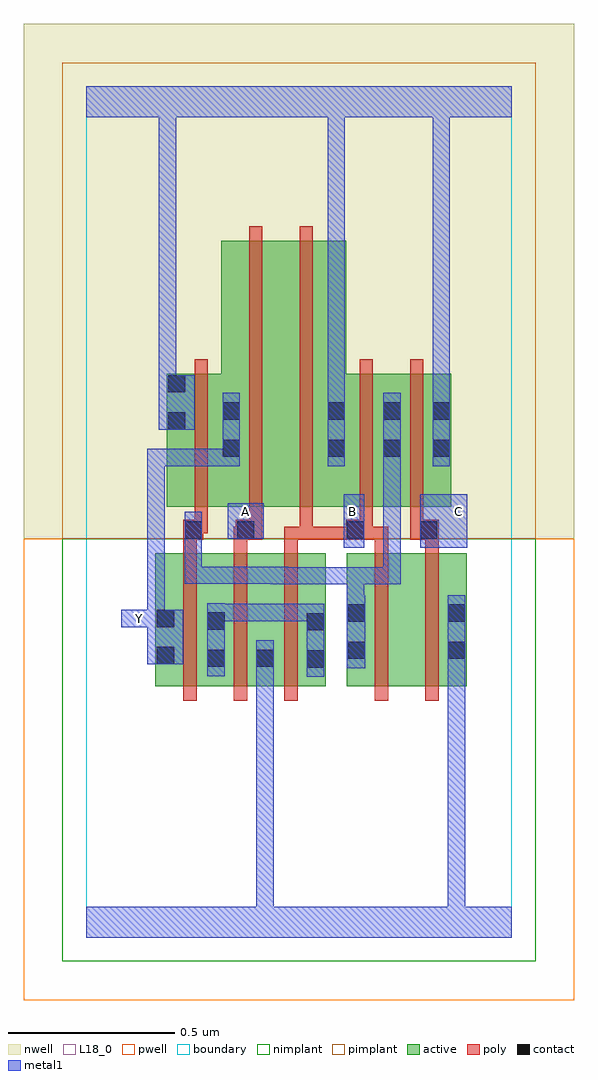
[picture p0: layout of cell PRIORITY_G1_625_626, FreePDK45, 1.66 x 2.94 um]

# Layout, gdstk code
import gdstk
lib = gdstk.Library(unit=1e-6, precision=1e-09)
def R(c, l, rs):  # rectangles x0, y0, x1, y1
    for r in rs: c.add(gdstk.rectangle(r[:2], r[2:], *l))
def A(c, l, x, y, w, h, nx, ny, dx, dy):  # array of equal rectangles
    R(c, l, [(x+i*dx, y+j*dy, x+i*dx+w, y+j*dy+h) for i in range(nx) for j in range(ny)])
active = (1, 0)
pwell = (2, 0)
nwell = (3, 0)
nimplant = (4, 0)
pimplant = (5, 0)
poly = (9, 0)
contact = (10, 0)
metal1 = (11, 0)
L18_0 = (18, 0)
boundary = (235, 0)

priority_g1_625_626 = lib.new_cell('PRIORITY_G1_625_626')
R(priority_g1_625_626, active, [(0.208,0.756,0.268,1.156), (0.208,0.756,0.42,1.156), (0.36,0.756,0.42,1.156), (0.36,0.756,0.568,1.156), (0.508,0.756,0.72,1.156), (0.508,0.756,0.568,0.87), (0.66,0.756,0.72,1.156), (0.784,0.756,0.844,1.156), (0.784,0.756,0.964,1.156), (0.964,0.756,1.144,1.156), (1.084,0.756,1.144,1.156), (0.242,1.296,0.302,1.696), (0.242,1.296,0.466,1.696), (0.406,1.296,0.586,2.096), (0.406,1.296,0.466,2.096), (0.586,1.296,0.782,2.096), (0.722,1.296,0.95,1.696), (0.722,1.296,0.782,1.716), (0.89,1.296,0.95,1.696), (0.89,1.296,1.098,1.696), (1.038,1.296,1.098,1.696)])
R(priority_g1_625_626, pwell, [(-0.188,-0.188,1.468,1.2)])
R(priority_g1_625_626, nwell, [(-0.188,1.2,1.468,2.748)])
R(priority_g1_625_626, nimplant, [(-0.072,-0.072,1.352,1.2)])
R(priority_g1_625_626, pimplant, [(-0.072,1.2,1.352,2.632)])
A(priority_g1_625_626, poly, 0.292, 0.712, 0.04, 0.488, 3, 1, 0.152, 0)
A(priority_g1_625_626, poly, 0.292, 1.16, 0.04, 0.076, 3, 1, 0.152, 0)
R(priority_g1_625_626, poly, [(0.868,0.712,0.908,1.2), (1.02,0.712,1.06,1.2), (0.868,1.16,0.908,1.236), (1.02,1.16,1.06,1.236), (0.292,1.196,0.352,1.256), (0.444,1.196,0.49,1.236), (0.45,1.196,0.49,1.236), (0.45,1.196,0.53,1.256), (0.596,1.196,0.666,1.236), (0.626,1.196,0.666,1.236), (0.626,1.196,0.682,1.236), (0.642,1.196,0.682,1.236), (0.642,1.196,0.682,1.236), (0.642,1.196,0.82,1.236), (0.642,1.196,0.682,1.292), (0.78,1.196,0.82,1.236), (0.78,1.196,0.82,1.236), (0.78,1.196,0.862,1.256), (0.822,1.196,0.862,1.236), (0.822,1.196,0.908,1.236), (0.974,1.196,1.06,1.256), (1.02,1.196,1.06,1.236), (1.02,1.196,1.06,1.236), (0.312,1.216,0.352,1.256), (0.312,1.216,0.366,1.256), (0.326,1.216,0.366,1.292), (0.49,1.216,0.53,1.292), (0.822,1.216,0.862,1.292), (0.974,1.216,1.014,1.292), (0.326,1.252,0.366,1.74), (0.49,1.252,0.53,2.14), (0.642,1.252,0.682,2.14), (0.822,1.252,0.862,1.74), (0.974,1.252,1.014,1.74)])
R(priority_g1_625_626, contact, [(0.664,0.812,0.716,0.864), (0.364,0.814,0.416,0.866), (0.512,0.814,0.564,0.866), (0.212,0.822,0.264,0.874), (0.788,0.838,0.84,0.89), (1.088,0.838,1.14,0.89), (0.664,0.924,0.716,0.976), (0.364,0.926,0.416,0.978), (0.212,0.934,0.264,0.986), (0.788,0.95,0.84,1.002), (1.088,0.95,1.14,1.002), (0.296,1.2,0.348,1.252), (0.454,1.2,0.506,1.252), (0.784,1.2,0.836,1.252), (1.004,1.2,1.056,1.252), (0.41,1.446,0.462,1.498), (0.726,1.446,0.778,1.498), (0.894,1.446,0.946,1.498), (1.042,1.446,1.094,1.498), (0.246,1.528,0.298,1.58), (0.41,1.558,0.462,1.61), (0.726,1.558,0.778,1.61), (0.894,1.558,0.946,1.61), (1.042,1.558,1.094,1.61), (0.246,1.64,0.298,1.692)])
R(priority_g1_625_626, metal1, [(0,0,1.28,0.092), (0.512,0.04,0.564,0.092), (0.512,0.04,0.564,0.092), (0.512,0.04,0.564,0.092), (0.512,0.04,0.564,0.092), (0.512,0.04,0.564,0.092), (0.512,0.04,0.564,0.092), (0.512,0.04,0.564,0.092), (0.512,0.04,0.564,0.092), (0.512,0.04,0.564,0.092), (0.512,0.04,0.564,0.092), (0.512,0.04,0.564,0.092), (0.512,0.04,0.564,0.092), (0.512,0.04,0.564,0.838), (1.088,0.04,1.14,0.092), (1.088,0.04,1.14,0.092), (1.088,0.04,1.14,0.092), (1.088,0.04,1.14,0.092), (1.088,0.04,1.14,0.092), (1.088,0.04,1.14,0.092), (1.088,0.04,1.14,0.092), (1.088,0.04,1.14,0.092), (1.088,0.04,1.14,0.092), (1.088,0.04,1.14,0.092), (1.088,0.04,1.14,0.862), (0.664,0.784,0.716,1.004), (0.364,0.786,0.416,1.006), (0.512,0.786,0.564,0.894), (0.784,0.81,0.84,1.03), (1.088,0.81,1.14,0.862), (1.088,0.81,1.14,0.862), (1.088,0.81,1.14,1.03), (0.184,0.822,0.292,0.986), (0.106,0.934,0.236,0.986), (0.184,0.934,0.236,0.986), (0.184,0.934,0.236,0.986), (0.184,0.934,0.236,0.986), (0.184,0.934,0.236,1.47), (0.364,0.952,0.526,1.004), (0.474,0.952,0.526,1.004), (0.474,0.952,0.526,1.004), (0.474,0.952,0.526,1.004), (0.474,0.952,0.716,1.004), (0.664,0.952,0.716,1.004), (0.664,0.952,0.716,1.004), (0.784,0.978,0.836,1.114), (0.554,1.062,0.716,1.114), (0.554,1.062,0.606,1.116), (0.664,1.062,0.716,1.114), (0.664,1.062,0.716,1.114), (0.664,1.062,0.716,1.114), (0.664,1.062,0.836,1.114), (0.784,1.062,0.836,1.114), (0.784,1.062,0.946,1.114), (0.894,1.062,0.946,1.114), (0.894,1.062,0.946,1.114), (0.894,1.062,0.946,1.114), (0.894,1.062,0.946,1.47), (0.296,1.064,0.606,1.116), (0.296,1.064,0.348,1.224), (0.554,1.064,0.606,1.116), (0.554,1.064,0.606,1.116), (0.296,1.172,0.348,1.224), (0.296,1.172,0.348,1.28), (0.774,1.172,0.836,1.334), (1.004,1.172,1.146,1.334), (0.426,1.2,0.534,1.306), (0.184,1.418,0.236,1.47), (0.184,1.418,0.236,1.47), (0.184,1.418,0.236,1.47), (0.184,1.418,0.462,1.47), (0.41,1.418,0.462,1.638), (0.726,1.418,0.778,1.638), (0.894,1.418,0.946,1.47), (0.894,1.418,0.946,1.47), (0.894,1.418,0.946,1.638), (1.042,1.418,1.094,1.638), (0.218,1.528,0.326,1.692), (0.726,1.586,0.778,2.52), (1.042,1.586,1.094,1.638), (1.042,1.586,1.094,1.638), (1.042,1.586,1.094,2.52), (0.218,1.64,0.27,1.692), (0.218,1.64,0.27,1.692), (0.218,1.64,0.27,1.692), (0.218,1.64,0.27,1.692), (0.218,1.64,0.27,1.692), (0.218,1.64,0.27,1.692), (0.218,1.64,0.27,2.52), (0,2.468,1.28,2.56), (0.218,2.468,0.27,2.52), (0.218,2.468,0.27,2.52), (0.218,2.468,0.27,2.52), (0.218,2.468,0.27,2.52), (0.218,2.468,0.27,2.52), (0.218,2.468,0.27,2.52), (0.218,2.468,0.27,2.52), (0.218,2.468,0.27,2.52), (0.218,2.468,0.27,2.52), (0.218,2.468,0.27,2.52), (0.726,2.468,0.778,2.52), (0.726,2.468,0.778,2.52), (0.726,2.468,0.778,2.52), (0.726,2.468,0.778,2.52), (0.726,2.468,0.778,2.52), (0.726,2.468,0.778,2.52), (0.726,2.468,0.778,2.52), (0.726,2.468,0.778,2.52), (1.042,2.468,1.094,2.52), (1.042,2.468,1.094,2.52), (1.042,2.468,1.094,2.52), (1.042,2.468,1.094,2.52), (1.042,2.468,1.094,2.52), (1.042,2.468,1.094,2.52), (1.042,2.468,1.094,2.52), (1.042,2.468,1.094,2.52), (1.042,2.468,1.094,2.52), (1.042,2.468,1.094,2.52), (1.042,2.468,1.094,2.52), (1.042,2.468,1.094,2.52), (1.042,2.468,1.094,2.52), (1.042,2.468,1.094,2.52)])
A(priority_g1_625_626, L18_0, 0.454, 1.254, 0.052, 0.052, 3, 1, 0.32, 0)
A(priority_g1_625_626, L18_0, 0.41, 1.418, 0.052, 0.22, 3, 1, 0.316, 0)
R(priority_g1_625_626, L18_0, [(0,0,1.28,0.092), (0.512,0.04,0.564,0.092), (0.512,0.04,0.564,0.092), (0.512,0.04,0.564,0.092), (0.512,0.04,0.564,0.092), (0.512,0.04,0.564,0.092), (0.512,0.04,0.564,0.092), (0.512,0.04,0.564,0.092), (0.512,0.04,0.564,0.092), (0.512,0.04,0.564,0.092), (0.512,0.04,0.564,0.092), (0.512,0.04,0.564,0.092), (0.512,0.04,0.564,0.092), (0.512,0.04,0.564,0.838), (1.088,0.04,1.14,0.092), (1.088,0.04,1.14,0.092), (1.088,0.04,1.14,0.092), (1.088,0.04,1.14,0.092), (1.088,0.04,1.14,0.092), (1.088,0.04,1.14,0.092), (1.088,0.04,1.14,0.092), (1.088,0.04,1.14,0.092), (1.088,0.04,1.14,0.092), (1.088,0.04,1.14,0.092), (1.088,0.04,1.14,0.862), (0.512,0.786,0.564,0.894), (1.088,0.81,1.14,0.862), (1.088,0.81,1.14,0.862), (1.088,0.81,1.14,1.03), (0.184,0.822,0.292,0.986), (0.106,0.934,0.236,0.986), (0.134,0.934,0.186,0.986), (0.184,0.934,0.236,0.986), (0.184,0.934,0.236,0.986), (0.184,0.934,0.236,0.986), (0.184,0.934,0.236,1.47), (0.774,1.172,0.836,1.334), (1.004,1.172,1.146,1.334), (0.426,1.2,0.534,1.306), (0.184,1.418,0.236,1.47), (0.184,1.418,0.236,1.47), (0.184,1.418,0.236,1.47), (0.184,1.418,0.462,1.47), (0.218,1.528,0.326,1.692), (0.726,1.586,0.778,2.52), (1.042,1.586,1.094,1.638), (1.042,1.586,1.094,1.638), (1.042,1.586,1.094,2.52), (0.218,1.64,0.27,1.692), (0.218,1.64,0.27,1.692), (0.218,1.64,0.27,1.692), (0.218,1.64,0.27,1.692), (0.218,1.64,0.27,1.692), (0.218,1.64,0.27,1.692), (0.218,1.64,0.27,2.52), (0,2.468,1.28,2.56), (0.218,2.468,0.27,2.52), (0.218,2.468,0.27,2.52), (0.218,2.468,0.27,2.52), (0.218,2.468,0.27,2.52), (0.218,2.468,0.27,2.52), (0.218,2.468,0.27,2.52), (0.218,2.468,0.27,2.52), (0.218,2.468,0.27,2.52), (0.218,2.468,0.27,2.52), (0.218,2.468,0.27,2.52), (0.726,2.468,0.778,2.52), (0.726,2.468,0.778,2.52), (0.726,2.468,0.778,2.52), (0.726,2.468,0.778,2.52), (0.726,2.468,0.778,2.52), (0.726,2.468,0.778,2.52), (0.726,2.468,0.778,2.52), (0.726,2.468,0.778,2.52), (1.042,2.468,1.094,2.52), (1.042,2.468,1.094,2.52), (1.042,2.468,1.094,2.52), (1.042,2.468,1.094,2.52), (1.042,2.468,1.094,2.52), (1.042,2.468,1.094,2.52), (1.042,2.468,1.094,2.52), (1.042,2.468,1.094,2.52), (1.042,2.468,1.094,2.52), (1.042,2.468,1.094,2.52), (1.042,2.468,1.094,2.52), (1.042,2.468,1.094,2.52), (1.042,2.468,1.094,2.52), (1.042,2.468,1.094,2.52)])
R(priority_g1_625_626, boundary, [(0,0,1.28,2.56)])
priority_g1_625_626.add(gdstk.Label('A', (0.48,1.28), layer=11, texttype=0))
priority_g1_625_626.add(gdstk.Label('B', (0.8,1.28), layer=11, texttype=0))
priority_g1_625_626.add(gdstk.Label('C', (1.12,1.28), layer=11, texttype=0))
priority_g1_625_626.add(gdstk.Label('Y', (0.16,0.96), layer=11, texttype=0))

lib.write_gds('PRIORITY_G1_625_626.gds')
